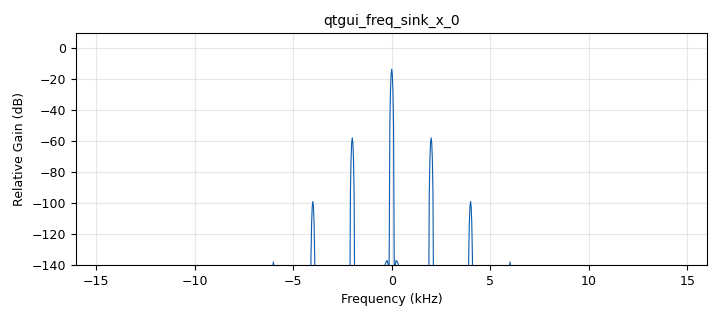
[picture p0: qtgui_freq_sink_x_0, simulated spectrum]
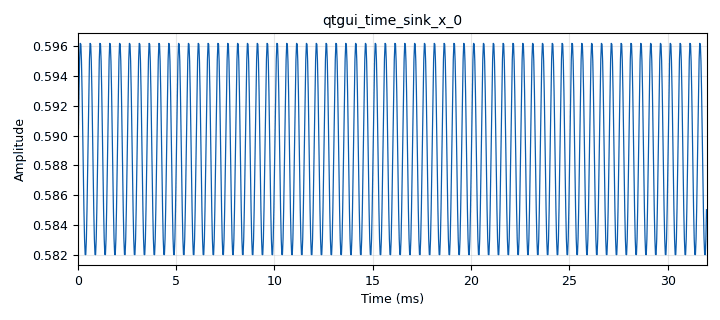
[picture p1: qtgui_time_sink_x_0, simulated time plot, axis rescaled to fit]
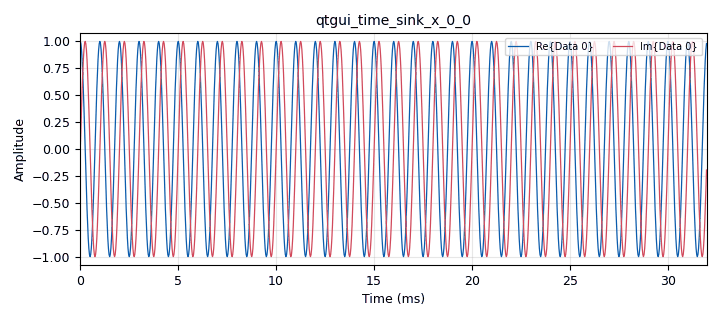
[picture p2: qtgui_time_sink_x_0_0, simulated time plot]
options:
  parameters:
    generate_options: qt_gui
    id: dsbsc_gnuradio
    output_language: python
    title: Not titled yet
  states: {}

blocks:
- name: fc
  id: variable_qtgui_range
  parameters:
    start: '100'
    step: '100'
    stop: '2000'
    value: '2000'
  states: {}
- name: fm
  id: variable_qtgui_range
  parameters:
    start: '50'
    step: '100'
    stop: '1000'
    value: '1000'
  states: {}
- name: mi
  id: variable_qtgui_range
  parameters:
    start: '1'
    step: '2'
    stop: '20'
    value: '20'
  states: {}
- name: samp_rate
  id: variable
  parameters:
    value: '32000'
  states: {}
- name: analog_pll_freqdet_cf_0
  id: analog_pll_freqdet_cf
  parameters:
    max_freq: '3.14'
    min_freq: '0.1'
    w: '0.2'
  states: {}
- name: analog_sig_source_x_0
  id: analog_sig_source_x
  parameters:
    amp: '1'
    freq: fm
    offset: '0'
    phase: '0'
    samp_rate: samp_rate
    type: complex
    waveform: analog.GR_SIN_WAVE
  states: {}
- name: analog_sig_source_x_0_0
  id: analog_sig_source_x
  parameters:
    amp: '1'
    freq: fm
    offset: '0'
    phase: '0'
    samp_rate: samp_rate
    type: complex
    waveform: analog.GR_SIN_WAVE
  states: {}
- name: analog_sig_source_x_0_1
  id: analog_sig_source_x
  parameters:
    amp: '1'
    freq: fm
    offset: '0'
    phase: '0'
    samp_rate: samp_rate
    type: complex
    waveform: analog.GR_COS_WAVE
  states: {}
- name: analog_sig_source_x_1
  id: analog_sig_source_x
  parameters:
    amp: '1'
    freq: fc
    offset: '0'
    phase: '0'
    samp_rate: samp_rate
    type: complex
    waveform: analog.GR_SIN_WAVE
  states: {}
- name: analog_sig_source_x_1_0
  id: analog_sig_source_x
  parameters:
    amp: '1'
    freq: fc
    offset: '0'
    phase: '0'
    samp_rate: samp_rate
    type: complex
    waveform: analog.GR_SIN_WAVE
  states: {}
- name: blocks_add_const_vxx_0
  id: blocks_add_const_vxx
  parameters:
    const: '1'
    type: complex
  states: {}
- name: blocks_add_const_vxx_0_0
  id: blocks_add_const_vxx
  parameters:
    const: '1'
    type: complex
  states: {}
- name: blocks_add_xx_0
  id: blocks_add_xx
  parameters:
    type: complex
  states: {}
- name: blocks_add_xx_1
  id: blocks_add_xx
  parameters:
    type: complex
  states: {}
- name: blocks_integrate_xx_0
  id: blocks_integrate_xx
  parameters:
    decim: '1'
    type: float
  states: {}
- name: blocks_multiply_const_vxx_0
  id: blocks_multiply_const_vxx
  parameters:
    const: mi
    type: complex
  states: {}
- name: blocks_multiply_const_vxx_0_0
  id: blocks_multiply_const_vxx
  parameters:
    const: '-mi'
    type: complex
  states: {}
- name: blocks_multiply_const_vxx_0_0_0
  id: blocks_multiply_const_vxx
  parameters:
    const: '-1'
    type: complex
  states: {}
- name: blocks_multiply_const_vxx_1
  id: blocks_multiply_const_vxx
  parameters:
    const: '-1'
    type: complex
  states: {}
- name: blocks_multiply_xx_0
  id: blocks_multiply_xx
  parameters:
    type: complex
  states: {}
- name: blocks_multiply_xx_0_0
  id: blocks_multiply_xx
  parameters:
    type: complex
  states: {}
- name: blocks_throttle2_0
  id: blocks_throttle2
  parameters:
    samples_per_second: samp_rate
    type: complex
  states: {}
- name: blocks_throttle2_0_0
  id: blocks_throttle2
  parameters:
    samples_per_second: samp_rate
    type: complex
  states: {}
- name: blocks_throttle2_0_0_0_0
  id: blocks_throttle2
  parameters:
    samples_per_second: samp_rate
    type: float
  states: {}
- name: qtgui_freq_sink_x_0
  id: qtgui_freq_sink_x
  parameters:
    bw: samp_rate
    fc: '0'
    fftsize: '1024'
    type: float
  states: {}
- name: qtgui_time_sink_x_0
  id: qtgui_time_sink_x
  parameters:
    size: '1024'
    srate: samp_rate
    type: float
  states: {}
- name: qtgui_time_sink_x_0_0
  id: qtgui_time_sink_x
  parameters:
    size: '1024'
    srate: samp_rate
    type: complex
  states: {}

connections:
- [analog_pll_freqdet_cf_0, '0', blocks_integrate_xx_0, '0']
- [analog_sig_source_x_0, '0', blocks_multiply_const_vxx_0, '0']
- [analog_sig_source_x_0_0, '0', blocks_multiply_const_vxx_0_0, '0']
- [analog_sig_source_x_0_1, '0', blocks_add_xx_0, '0']
- [analog_sig_source_x_0_1, '0', qtgui_time_sink_x_0_0, '0']
- [analog_sig_source_x_1, '0', blocks_multiply_xx_0, '1']
- [analog_sig_source_x_1_0, '0', blocks_multiply_xx_0_0, '1']
- [blocks_add_const_vxx_0, '0', blocks_multiply_xx_0, '0']
- [blocks_add_const_vxx_0_0, '0', blocks_multiply_xx_0_0, '0']
- [blocks_add_xx_0, '0', analog_pll_freqdet_cf_0, '0']
- [blocks_add_xx_1, '0', blocks_multiply_const_vxx_1, '0']
- [blocks_integrate_xx_0, '0', blocks_throttle2_0_0_0_0, '0']
- [blocks_multiply_const_vxx_0, '0', blocks_add_const_vxx_0, '0']
- [blocks_multiply_const_vxx_0_0, '0', blocks_add_const_vxx_0_0, '0']
- [blocks_multiply_const_vxx_0_0_0, '0', blocks_add_xx_1, '1']
- [blocks_multiply_const_vxx_1, '0', blocks_add_xx_0, '1']
- [blocks_multiply_xx_0, '0', blocks_throttle2_0, '0']
- [blocks_multiply_xx_0_0, '0', blocks_throttle2_0_0, '0']
- [blocks_throttle2_0, '0', blocks_add_xx_1, '0']
- [blocks_throttle2_0_0, '0', blocks_multiply_const_vxx_0_0_0, '0']
- [blocks_throttle2_0_0_0_0, '0', qtgui_freq_sink_x_0, '0']
- [blocks_throttle2_0_0_0_0, '0', qtgui_time_sink_x_0, '0']

metadata:
  file_format: 1
  grc_version: 3.10.9.2
